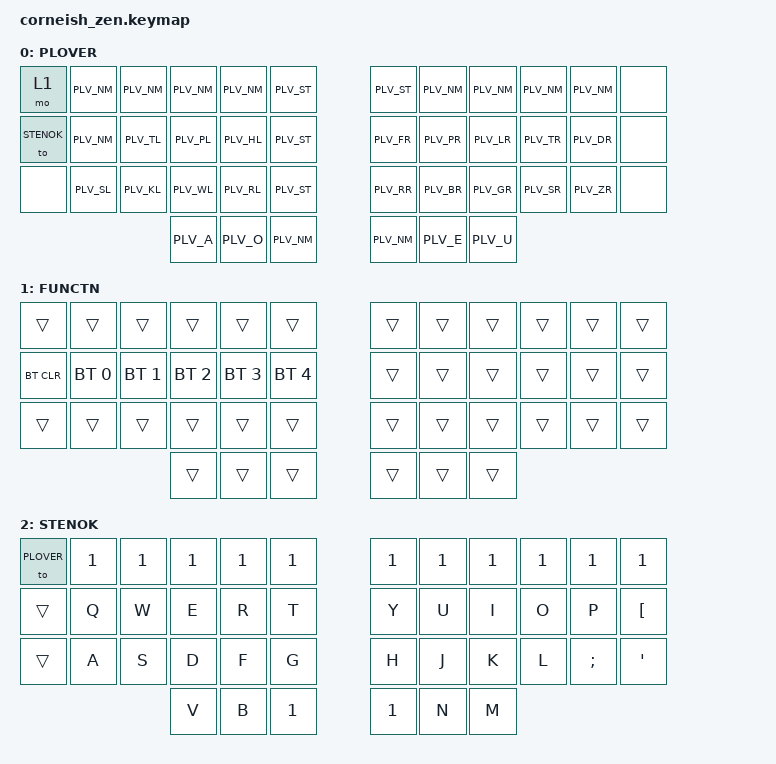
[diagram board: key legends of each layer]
#include <behaviors.dtsi>
#include <dt-bindings/zmk/keys.h>
#include <dt-bindings/zmk/bt.h>

/ {
  chosen {
    zmk,matrix_transform = &default_transform;
    //zmk,matrix_transform = &five_column_transform;
  };
};


#define PLOVER 0
#define FUNCTN 1
#define STENOK 2

/ {
        keymap {
                compatible = "zmk,keymap";
                default_layer {
                      label = "PLOVER";
                      bindings = <
   &mo 1        &kp PLV_NM  &kp PLV_NM  &kp PLV_NM  &kp PLV_NM  &kp PLV_ST         &kp PLV_ST  &kp PLV_NM  &kp PLV_NM  &kp PLV_NM  &kp PLV_NM  &none
   &to STENOK   &kp PLV_NM  &kp PLV_TL  &kp PLV_PL  &kp PLV_HL  &kp PLV_ST         &kp PLV_FR  &kp PLV_PR  &kp PLV_LR  &kp PLV_TR  &kp PLV_DR  &none
   &none        &kp PLV_SL  &kp PLV_KL  &kp PLV_WL  &kp PLV_RL  &kp PLV_ST         &kp PLV_RR  &kp PLV_BR  &kp PLV_GR  &kp PLV_SR  &kp PLV_ZR  &none
                                        &kp  PLV_A  &kp  PLV_O  &kp PLV_NM         &kp PLV_NM  &kp  PLV_E  &kp  PLV_U  
                       >;
                };


                lower_layer {
                        label = "FUNCTN";
                        bindings = < 
   &trans     &trans       &trans       &trans       &trans       &trans           &trans            &trans              &trans        &trans      &trans     &trans
   &bt BT_CLR &bt BT_SEL 0 &bt BT_SEL 1 &bt BT_SEL 2 &bt BT_SEL 3   &bt BT_SEL 4   &trans            &trans              &trans        &trans      &trans     &trans
   &trans     &trans       &trans       &trans       &trans         &trans         &trans            &trans              &trans        &trans      &trans     &trans
                                        &trans       &trans         &trans         &trans            &trans              &trans
                        >;
                };


                steno_layer {
                        label = "STENOK";
                        bindings = <
   &to PLOVER &kp N1 &kp N1 &kp N1 &kp N1 &kp N1   &kp N1 &kp N1  &kp N1 &kp N1 &kp N1 &kp N1 
   &trans &kp Q &kp W &kp E &kp R &kp T   &kp Y &kp U  &kp I     &kp O   &kp P    &kp LBKT
   &trans &kp A &kp S &kp D &kp F &kp G   &kp H &kp J  &kp K     &kp L   &kp SEMI &kp SQT
                  &kp V &kp B &kp N1   &kp N1 &kp N &kp M
                        >;
                };
        };
};
